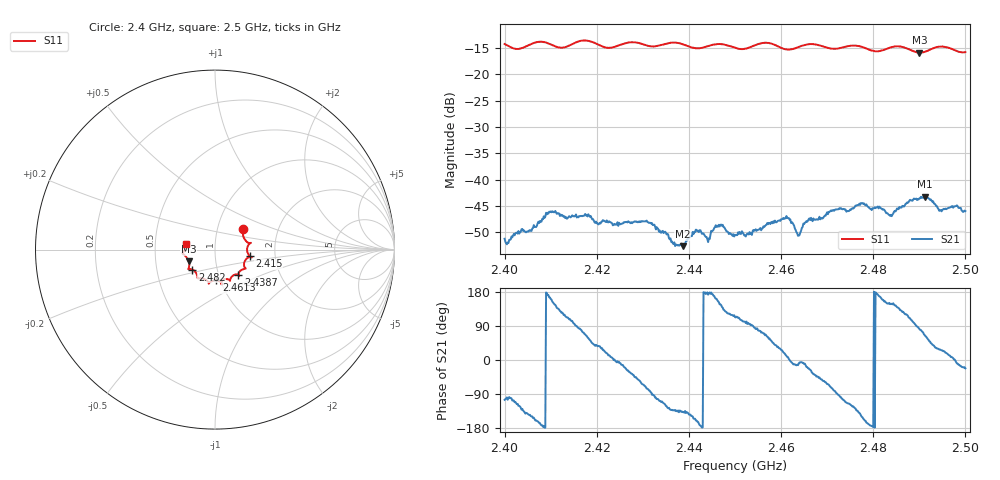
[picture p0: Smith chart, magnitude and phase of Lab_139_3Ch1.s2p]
# Hz S RI R 50
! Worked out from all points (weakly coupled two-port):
!   601 points, 2.4 GHz to 2.5 GHz, reference 50 ohm
!   highest |S21| = -43.24 dB at 2.4912 GHz (marker M1); lowest = -52.6 dB at 2.4387 GHz (marker M2)
!   lowest |S11| = -15.9 dB at 2.49 GHz (marker M3), VSWR 1.38, Z = 36.9 - j4.87 ohm
!   |S11| at or under -10 dB: start of sweep to end of sweep
!   S12 and S22 are empty: the file has one direction only
!   S11 on the Smith chart (normalised r, x): 2.4 GHz: 1.33, +0.31; 2.415 GHz: 1.47, -0.11; 2.4387 GHz: 1.24, -0.36; 2.4613 GHz: 0.96, -0.34; 2.482 GHz: 0.76, -0.17; 2.5 GHz: 0.72, +0.05
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2.4e9  0.1576 0.1125  -0.000713 -0.00265  0 0  0 0
2.405667e9  0.1891 0.0364  -0.00277 -0.00172  0 0  0 0
2.4095e9  0.1933 0.0342  -0.00469 0.000729  0 0  0 0
2.415e9  0.1926 -0.0364  -0.000505 0.00446  0 0  0 0
2.416667e9  0.2034 -0.0443  0.000874 0.00443  0 0  0 0
2.430667e9  0.1525 -0.1112  0.00124 -0.00381  0 0  0 0
2.433333e9  0.1324 -0.1314  -0.0008 -0.00329  0 0  0 0
2.438667e9  0.1307 -0.1414  -0.00172 -0.00157  0 0  0 0
2.442e9  0.0992 -0.1457  -0.00313 -0.000938  0 0  0 0
2.444167e9  0.085 -0.1647  -0.00253 0.000336  0 0  0 0
2.446333e9  0.084 -0.1743  -0.00323 0.00152  0 0  0 0
2.45e9  0.0686 -0.1645  -0.00117 0.00275  0 0  0 0
2.461333e9  0.00821 -0.1714  0.00428 0.00062  0 0  0 0
2.463833e9  -0.0256 -0.1798  0.00289 -0.000488  0 0  0 0
2.466667e9  -0.0346 -0.1903  0.00351 -0.00228  0 0  0 0
2.4775e9  -0.0975 -0.154  -0.00515 -0.00302  0 0  0 0
2.482e9  -0.1262 -0.1117  -0.00485 0.00186  0 0  0 0
2.483333e9  -0.1398 -0.1087  -0.00398 0.00241  0 0  0 0
2.49e9  -0.1468 -0.0642  0.000961 0.00655  0 0  0 0
2.491167e9  -0.1562 -0.0465  0.00286 0.00627  0 0  0 0
2.4945e9  -0.1816 -0.021  0.00454 0.00237  0 0  0 0
2.5e9  -0.1589 0.0324  0.00465 -0.00187  0 0  0 0
